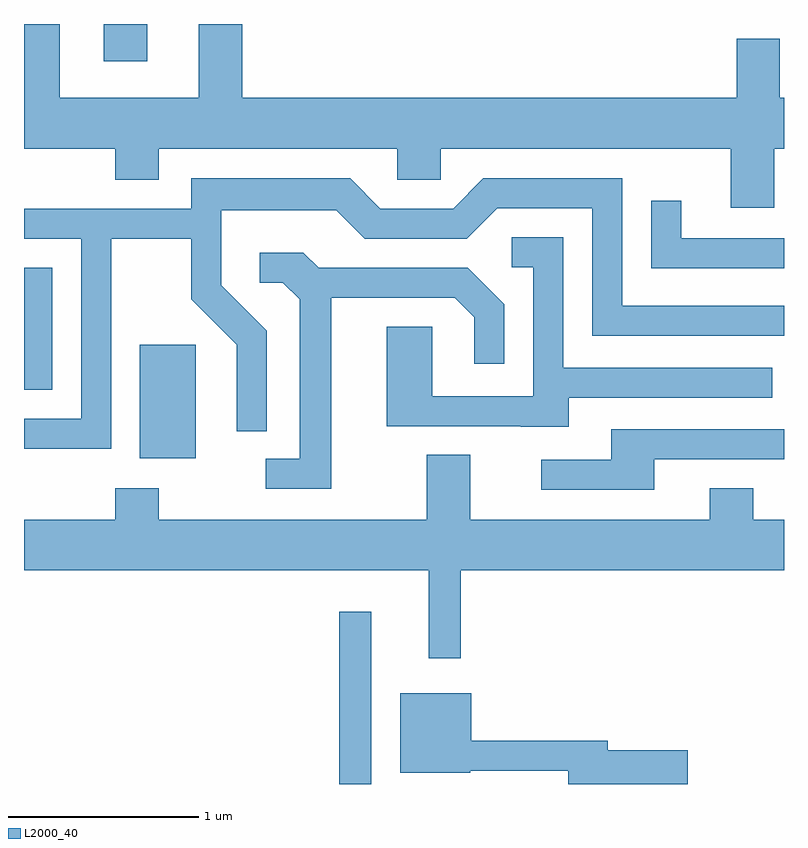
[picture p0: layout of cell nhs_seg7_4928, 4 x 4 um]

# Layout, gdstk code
import gdstk
lib = gdstk.Library(unit=1e-6, precision=1e-09)
def R(c, l, rs):  # rectangles x0, y0, x1, y1
    for r in rs: c.add(gdstk.rectangle(r[:2], r[2:], *l))
def P(c, l, *ps):  # polygons
    for p in ps: c.add(gdstk.Polygon(p, *l))
L2000_40 = (2000, 40)

nhs_seg7_4928 = lib.new_cell('nhs_seg7_4928')
R(nhs_seg7_4928, L2000_40, [(337.271,1764.252,337.439,1765.158), (336.221,1765.966,336.514,1766.564), (335.611,1766.326,335.759,1766.969), (336.031,1768.056,336.259,1768.252)])
P(nhs_seg7_4928, L2000_40, [(339.559,1767.596),(339.611,1767.596),(339.611,1767.864),(339.589,1767.864),(339.589,1768.174),(339.361,1768.174),(339.361,1767.864),(336.759,1767.864),(336.759,1768.252),(336.531,1768.252),(336.531,1767.864),(335.799,1767.864),(335.799,1768.252),(335.611,1768.252),(335.611,1767.596),(336.091,1767.596),(336.091,1767.431),(336.319,1767.431),(336.319,1767.596),(337.576,1767.596),(337.576,1767.431),(337.804,1767.431),(337.804,1767.596),(339.331,1767.596),(339.331,1767.286),(339.559,1767.286)],
  [(336.069,1767.121),(336.491,1767.121),(336.491,1766.804),(336.731,1766.564),(336.731,1766.108),(336.889,1766.108),(336.889,1766.637),(336.649,1766.877),(336.649,1767.271),(337.254,1767.271),(337.404,1767.121),(337.942,1767.121),(338.102,1767.281),(338.601,1767.281),(338.601,1766.611),(339.611,1766.611),(339.611,1766.769),(338.759,1766.769),(338.759,1767.439),(338.029,1767.439),(337.869,1767.279),(337.487,1767.279),(337.327,1767.439),(336.491,1767.439),(336.491,1767.279),(335.611,1767.279),(335.611,1767.121),(335.911,1767.121),(335.911,1766.174),(335.611,1766.174),(335.611,1766.016),(336.069,1766.016)],
  [(339.611,1767.124),(339.069,1767.124),(339.069,1767.323),(338.911,1767.323),(338.911,1766.966),(339.611,1766.966)],
  [(338.479,1766.286),(339.548,1766.286),(339.548,1766.444),(338.449,1766.444),(338.449,1767.129),(338.178,1767.129),(338.178,1766.971),(338.291,1766.971),(338.291,1766.294),(337.759,1766.294),(337.759,1766.659),(337.521,1766.659),(337.521,1766.136),(338.225,1766.136),(338.225,1766.131),(338.479,1766.131)],
  [(337.229,1766.811),(337.879,1766.811),(337.981,1766.709),(337.981,1766.463),(338.139,1766.463),(338.139,1766.777),(337.947,1766.969),(337.162,1766.969),(337.082,1767.049),(336.853,1767.049),(336.853,1766.891),(336.974,1766.891),(337.061,1766.804),(337.061,1765.964),(336.883,1765.964),(336.883,1765.806),(337.229,1765.806)],
  [(338.929,1765.961),(339.611,1765.961),(339.611,1766.119),(338.701,1766.119),(338.701,1765.959),(338.333,1765.959),(338.333,1765.801),(338.929,1765.801)],
  [(337.909,1765.376),(339.611,1765.376),(339.611,1765.644),(339.449,1765.644),(339.449,1765.809),(339.221,1765.809),(339.221,1765.644),(337.959,1765.644),(337.959,1765.984),(337.731,1765.984),(337.731,1765.644),(336.319,1765.644),(336.319,1765.809),(336.091,1765.809),(336.091,1765.644),(335.611,1765.644),(335.611,1765.376),(337.741,1765.376),(337.741,1764.913),(337.909,1764.913)],
  [(339.104,1764.429),(338.684,1764.429),(338.684,1764.479),(337.964,1764.479),(337.964,1764.729),(337.591,1764.729),(337.591,1764.311),(337.96,1764.311),(337.96,1764.321),(338.476,1764.321),(338.476,1764.252),(339.104,1764.252)])

lib.write_gds('nhs_seg7_4928.gds')
